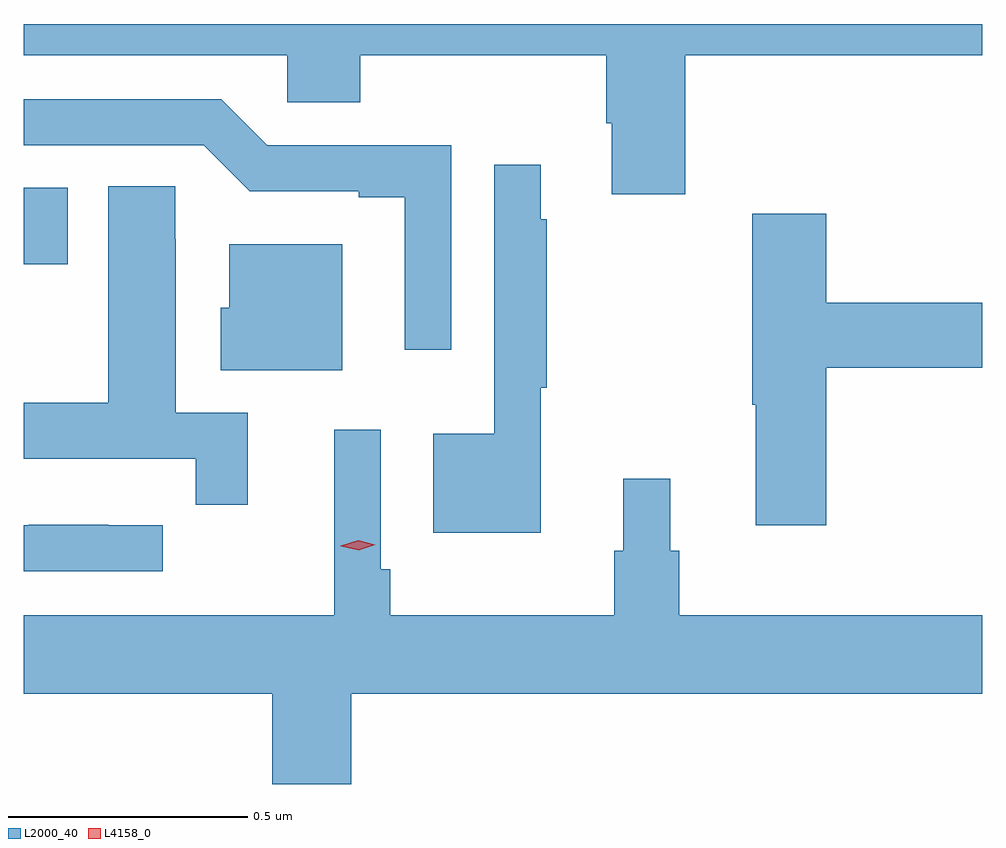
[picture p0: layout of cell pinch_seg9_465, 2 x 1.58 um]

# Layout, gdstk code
import gdstk
lib = gdstk.Library(unit=1e-6, precision=1e-09)
def R(c, l, rs):  # rectangles x0, y0, x1, y1
    for r in rs: c.add(gdstk.rectangle(r[:2], r[2:], *l))
def P(c, l, *ps):  # polygons
    for p in ps: c.add(gdstk.Polygon(p, *l))
L2000_40 = (2000, 40)
L4158_0 = (4158, 0)

pinch_seg9_465 = lib.new_cell('pinch_seg9_465')
R(pinch_seg9_465, L2000_40, [(188.465,1174.672,188.557,1174.831)])
P(pinch_seg9_465, L2000_40, [(189.845,1175.108),(190.465,1175.108),(190.465,1175.173),(188.465,1175.173),(188.465,1175.108),(189.015,1175.108),(189.015,1175.01),(189.167,1175.01),(189.167,1175.108),(189.68,1175.108),(189.68,1174.966),(189.692,1174.966),(189.692,1174.818),(189.845,1174.818)],
  [(189.357,1174.92),(188.973,1174.92),(188.877,1175.016),(188.465,1175.016),(188.465,1174.92),(188.841,1174.92),(188.937,1174.824),(189.164,1174.824),(189.164,1174.812),(189.26,1174.812),(189.26,1174.494),(189.357,1174.494)],
  [(189.544,1174.414),(189.556,1174.414),(189.556,1174.766),(189.544,1174.766),(189.544,1174.879),(189.447,1174.879),(189.447,1174.318),(189.32,1174.318),(189.32,1174.112),(189.544,1174.112)],
  [(188.933,1174.362),(188.782,1174.362),(188.782,1174.724),(188.781,1174.724),(188.781,1174.835),(188.642,1174.835),(188.642,1174.383),(188.465,1174.383),(188.465,1174.266),(188.824,1174.266),(188.824,1174.17),(188.933,1174.17)],
  [(190.139,1174.456),(190.465,1174.456),(190.465,1174.592),(190.139,1174.592),(190.139,1174.777),(189.985,1174.777),(189.985,1174.379),(189.992,1174.379),(189.992,1174.128),(190.139,1174.128)],
  [(189.13,1174.714),(188.894,1174.714),(188.894,1174.581),(188.876,1174.581),(188.876,1174.451),(189.13,1174.451)],
  [(189.148,1173.776),(190.465,1173.776),(190.465,1173.94),(189.833,1173.94),(189.833,1174.074),(189.814,1174.074),(189.814,1174.225),(189.716,1174.225),(189.716,1174.074),(189.697,1174.074),(189.697,1173.94),(189.23,1173.94),(189.23,1174.036),(189.21,1174.036),(189.21,1174.327),(189.113,1174.327),(189.113,1173.94),(188.465,1173.94),(188.465,1173.776),(188.984,1173.776),(188.984,1173.588),(189.148,1173.588)],
  [(188.755,1174.128),(188.642,1174.128),(188.642,1174.129),(188.476,1174.129),(188.476,1174.128),(188.465,1174.128),(188.465,1174.032),(188.755,1174.032)])
P(pinch_seg9_465, L4158_0, [(189.164,1174.076),(189.127,1174.084),(189.127,1174.084),(189.127,1174.085),(189.163,1174.096),(189.199,1174.087),(189.199,1174.087),(189.199,1174.087)])

lib.write_gds('pinch_seg9_465.gds')
